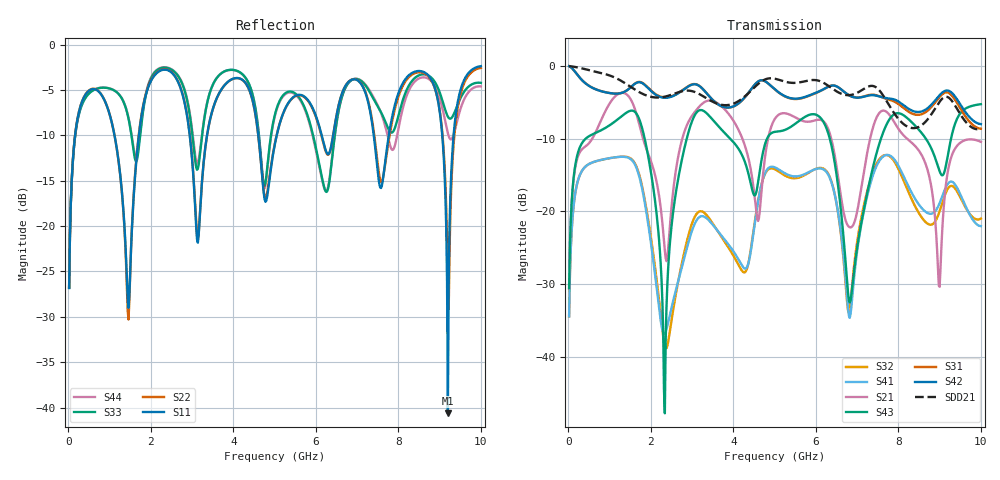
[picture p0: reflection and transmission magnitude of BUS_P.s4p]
! kisi 0.3.3: S-parameters of lane BUS_P (kisi's channel model of the board)
! board board.kicad_pcb
! subcircuit BUS_P_lane (pair: P and N on their own paths, coupled sections in modal form)
! port 1 (ap): P BUS_P at U1.6 (transmitter end)
! port 2 (an): N BUS_N at U1.7 (transmitter end)
! port 3 (bp): P BUS_P at U2.6 (receiver end)
! port 4 (bn): N BUS_N at U2.7 (receiver end)
! track length 55.75 mm, delay 315.3 ps, reference 50.00 ohm per port
! mixed mode with this order: differential port 1 = (port 1 - port 2)/sqrt(2), port 2 = (port 3 - port 4)/sqrt(2)
! the receiver's termination resistors are not included (they act as the receiver's termination)
! stackup: 2 copper layers, 1.49 mm, er and tand at 1 GHz; from board file (layer by layer in the README)
!  layers (um): F.Cu 30 / 1430 er 4.42 tand 0.02 / B.Cu 30
# HZ S RI R 5.000000e1
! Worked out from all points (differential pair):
!   500 points, 20 MHz to 10 GHz, reference 50 ohm
!   strongest paths, dB at 20 MHz, 2.52 GHz, 5.02 GHz, 7.52 GHz, 10 GHz:
!     S42: 0.0, -4.2, -3.3, -4.2, -8.0
!     S31: 0.0, -4.1, -3.3, -4.1, -8.6
!     S43: -30.5, -21.1, -9.0, -11.0, -5.3
!     S21: -30.5, -18.3, -7.2, -6.6, -10.4
!     S41: -34.4, -32.8, -14.0, -13.2, -22.0
!     S32: -34.4, -34.3, -14.2, -13.0, -21.0
!   taken as a pair (ports 2,1 in; 4,3 out), SDD21 dB: 0.0, -3.9, -1.8, -3.2, -8.6
!   lowest |S11| = -40.6 dB at 9.2 GHz (marker M1), VSWR 1.02, Z = 49.1 - j0.0866 ohm
!   |S11| at or under -10 dB: 1.12 GHz to 1.711 GHz (590.7 MHz wide, 41.7 % of centre); 2.943 GHz to 3.362 GHz (419 MHz wide, 13.3 % of centre); 4.605 GHz to 5.052 GHz (446.6 MHz wide, 9.25 % of centre)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
2e7  0.00659 0.0451  0.00268 0.0296  0.9928 -0.0679  -0.0025 -0.0189
     0.00268 0.0296  0.00663 0.0454  -0.00251 -0.0189  0.9927 -0.0681
     0.9928 -0.0679  -0.00251 -0.0189  0.0065 0.0451  0.00317 0.0296
     -0.0025 -0.0189  0.9927 -0.0681  0.00317 0.0296  0.00653 0.0454
1.62e9  0.027 0.1882  0.2953 -0.403  -0.7517 0.0945  -0.1161 -0.1735
        0.2953 -0.403  0.0227 0.1932  -0.123 -0.1731  -0.7488 0.0983
        -0.7517 0.0945  -0.123 -0.1731  0.2308 -0.0294  -0.4164 -0.2415
        -0.1161 -0.1735  -0.7488 0.0983  -0.4164 -0.2415  0.245 -0.0225
2.34e9  0.7264 0.0436  0.0422 -0.0335  0.0497 0.6057  0.00895 -0.0115
        0.0422 -0.0335  0.73 0.0439  0.00944 -0.0071  0.0489 0.6015
        0.0497 0.6057  0.00944 -0.0071  0.7313 -0.151  0.00186 -0.00367
        0.00895 -0.0115  0.0489 0.6015  0.00186 -0.00367  0.7355 -0.1507
3.14e9  -0.0806 0.00771  0.511 0.0254  0.7237 -0.1536  0.0798 -0.0405
        0.511 0.0254  -0.0836 0.00385  0.0896 -0.0408  0.7226 -0.1493
        0.7237 -0.1536  0.0896 -0.0408  0.2001 -0.0517  -0.4283 0.2345
        0.0798 -0.0405  0.7226 -0.1493  -0.4283 0.2345  0.2136 -0.0613
4.68e9  0.1694 -0.1258  -0.0155 0.1344  -0.7954 0.0303  -0.0196 0.1512
        -0.0155 0.1344  0.1732 -0.1207  -0.0282 0.15  -0.7961 0.0302
        -0.7954 0.0303  -0.0282 0.15  0.0629 -0.216  0.0539 0.2163
        -0.0196 0.1512  -0.7961 0.0302  0.0539 0.2163  0.0578 -0.2138
9.2e9  -0.00925 -0.000882  0.179 -0.0605  0.5937 -0.2763  0.1363 0.0738
       0.179 -0.0605  0.0329 -0.0237  0.0976 0.1054  0.6211 -0.2678
       0.5937 -0.2763  0.0976 0.1054  0.1199 -0.3825  0.0568 0.2369
       0.1363 0.0738  0.6211 -0.2678  0.0568 0.2369  0.0732 -0.3162
1e10  0.7545 0.0947  0.0341 -0.2987  -0.2061 -0.3071  0.0402 -0.0685
      0.0341 -0.2987  0.7379 0.0952  0.0669 -0.0592  -0.2222 -0.3301
      -0.2061 -0.3071  0.0669 -0.0592  0.1246 -0.6026  0.5283 0.1364
      0.0402 -0.0685  -0.2222 -0.3301  0.5283 0.1364  0.1615 -0.5656
